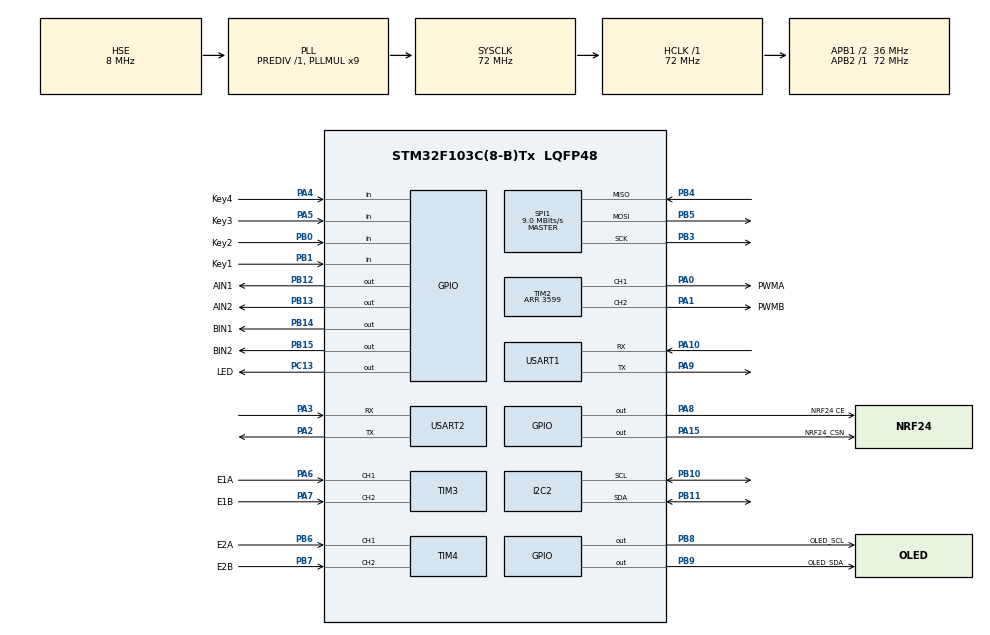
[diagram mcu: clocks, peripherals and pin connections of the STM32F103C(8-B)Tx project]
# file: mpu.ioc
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Dma.Request0=USART2_TX
Dma.Request1=USART2_RX
Dma.USART2_RX.1.Direction=DMA_PERIPH_TO_MEMORY
Dma.USART2_RX.1.Instance=DMA1_Channel6
Dma.USART2_RX.1.MemDataAlignment=DMA_MDATAALIGN_BYTE
Dma.USART2_RX.1.MemInc=DMA_MINC_ENABLE
Dma.USART2_RX.1.Mode=DMA_NORMAL
Dma.USART2_RX.1.PeriphDataAlignment=DMA_PDATAALIGN_BYTE
Dma.USART2_RX.1.PeriphInc=DMA_PINC_DISABLE
Dma.USART2_RX.1.Priority=DMA_PRIORITY_LOW
Dma.USART2_TX.0.Direction=DMA_MEMORY_TO_PERIPH
Dma.USART2_TX.0.Instance=DMA1_Channel7
Dma.USART2_TX.0.MemDataAlignment=DMA_MDATAALIGN_BYTE
Dma.USART2_TX.0.MemInc=DMA_MINC_ENABLE
Dma.USART2_TX.0.Mode=DMA_NORMAL
Dma.USART2_TX.0.PeriphDataAlignment=DMA_PDATAALIGN_BYTE
Dma.USART2_TX.0.PeriphInc=DMA_PINC_DISABLE
Dma.USART2_TX.0.Priority=DMA_PRIORITY_LOW
I2C2.I2C_Mode=I2C_Fast
Mcu.Family=STM32F1
Mcu.Name=STM32F103C(8-B)Tx
Mcu.Package=LQFP48
NVIC.DMA1_Channel6_IRQn=true\:0\:0\:false\:false\:true\:false\:true\:true
NVIC.DMA1_Channel7_IRQn=true\:0\:0\:false\:false\:true\:false\:true\:true
NVIC.I2C2_ER_IRQn=true\:1\:0\:false\:false\:true\:true\:true\:true
NVIC.I2C2_EV_IRQn=true\:1\:0\:false\:false\:true\:true\:true\:true
NVIC.PriorityGroup=NVIC_PRIORITYGROUP_4
NVIC.TIM1_UP_IRQn=true\:0\:0\:false\:false\:true\:true\:true\:true
NVIC.USART2_IRQn=true\:0\:0\:false\:false\:true\:true\:true\:true
PA0-WKUP.GPIO_Label=PWMA
PA0-WKUP.Signal=S_TIM2_CH1_ETR
PA1.GPIO_Label=PWMB
PA1.Signal=S_TIM2_CH2
PA10.Mode=Asynchronous
PA10.Signal=USART1_RX
PA13.Mode=Serial_Wire
PA13.Signal=SYS_JTMS-SWDIO
PA14.Mode=Serial_Wire
PA14.Signal=SYS_JTCK-SWCLK
PA15.GPIO_Label=NRF24_CSN
PA15.PinState=GPIO_PIN_SET
PA15.Signal=GPIO_Output
PA2.Mode=Asynchronous
PA2.Signal=USART2_TX
PA3.Mode=Asynchronous
PA3.Signal=USART2_RX
PA4.GPIO_Label=Key4
PA4.GPIO_PuPd=GPIO_PULLUP
PA4.Signal=GPIO_Input
PA5.GPIO_Label=Key3
PA5.GPIO_PuPd=GPIO_PULLUP
PA5.Signal=GPIO_Input
PA6.GPIO_Label=E1A
PA6.Signal=S_TIM3_CH1
PA7.GPIO_Label=E1B
PA7.Signal=S_TIM3_CH2
PA8.GPIO_Label=NRF24 CE
PA8.Signal=GPIO_Output
PA9.Mode=Asynchronous
PA9.Signal=USART1_TX
PB0.GPIO_Label=Key2
PB0.GPIO_PuPd=GPIO_PULLUP
PB0.Signal=GPIO_Input
PB1.GPIO_Label=Key1
PB1.GPIO_PuPd=GPIO_PULLUP
PB1.Signal=GPIO_Input
PB10.Mode=I2C
PB10.Signal=I2C2_SCL
PB11.Mode=I2C
PB11.Signal=I2C2_SDA
PB12.GPIO_Label=AIN1
PB12.Signal=GPIO_Output
PB13.GPIO_Label=AIN2
PB13.Signal=GPIO_Output
PB14.GPIO_Label=BIN1
PB14.Signal=GPIO_Output
PB15.GPIO_Label=BIN2
PB15.Signal=GPIO_Output
PB3.Mode=Full_Duplex_Master
PB3.Signal=SPI1_SCK
PB4.Mode=Full_Duplex_Master
PB4.Signal=SPI1_MISO
PB5.Mode=Full_Duplex_Master
PB5.Signal=SPI1_MOSI
PB6.GPIO_Label=E2A
PB6.Signal=S_TIM4_CH1
PB7.GPIO_Label=E2B
PB7.Signal=S_TIM4_CH2
PB8.GPIO_Label=OLED_SCL
PB8.GPIO_ModeDefaultOutputPP=GPIO_MODE_OUTPUT_OD
PB8.GPIO_Speed=GPIO_SPEED_FREQ_HIGH
PB8.PinState=GPIO_PIN_SET
PB8.Signal=GPIO_Output
PB9.GPIO_Label=OLED_SDA
PB9.GPIO_ModeDefaultOutputPP=GPIO_MODE_OUTPUT_OD
PB9.GPIO_Speed=GPIO_SPEED_FREQ_HIGH
PB9.PinState=GPIO_PIN_SET
PB9.Signal=GPIO_Output
PC13-TAMPER-RTC.GPIO_Label=LED
PC13-TAMPER-RTC.PinState=GPIO_PIN_SET
PC13-TAMPER-RTC.Signal=GPIO_Output
PD0-OSC_IN.Mode=HSE-External-Oscillator
PD0-OSC_IN.Signal=RCC_OSC_IN
PD1-OSC_OUT.Mode=HSE-External-Oscillator
PD1-OSC_OUT.Signal=RCC_OSC_OUT
ProjectManager.HeapSize=0x200
ProjectManager.StackSize=0x400
ProjectManager.TargetToolchain=CMake
RCC.ADCPresc=RCC_ADCPCLK2_DIV6
RCC.AHBFreq_Value=72000000
RCC.APB1CLKDivider=RCC_HCLK_DIV2
RCC.APB1Freq_Value=36000000
RCC.APB1TimFreq_Value=72000000
RCC.APB2Freq_Value=72000000
RCC.APB2TimFreq_Value=72000000
RCC.HCLKFreq_Value=72000000
RCC.PLLMUL=RCC_PLL_MUL9
RCC.PLLSourceVirtual=RCC_PLLSOURCE_HSE
RCC.SYSCLKFreq_VALUE=72000000
RCC.SYSCLKSource=RCC_SYSCLKSOURCE_PLLCLK
RCC.USBFreq_Value=72000000
SH.S_TIM2_CH1_ETR.0=TIM2_CH1,PWM Generation1 CH1
SH.S_TIM2_CH2.0=TIM2_CH2,PWM Generation2 CH2
SH.S_TIM3_CH1.0=TIM3_CH1,Encoder_Interface
SH.S_TIM3_CH2.0=TIM3_CH2,Encoder_Interface
SH.S_TIM4_CH1.0=TIM4_CH1,Encoder_Interface
SH.S_TIM4_CH2.0=TIM4_CH2,Encoder_Interface
SPI1.BaudRatePrescaler=SPI_BAUDRATEPRESCALER_8
SPI1.CalculateBaudRate=9.0 MBits/s
SPI1.Direction=SPI_DIRECTION_2LINES
SPI1.Mode=SPI_MODE_MASTER
SPI1.VirtualType=VM_MASTER
TIM1.Period=719
TIM1.Prescaler=99
TIM2.Channel-PWM\ Generation1\ CH1=TIM_CHANNEL_1
TIM2.Channel-PWM\ Generation2\ CH2=TIM_CHANNEL_2
TIM2.Period=3599
TIM3.EncoderMode=TIM_ENCODERMODE_TI12
TIM4.EncoderMode=TIM_ENCODERMODE_TI12
USART1.VirtualMode=VM_ASYNC
USART2.VirtualMode=VM_ASYNC
VP_TIM1_VS_ClockSourceINT.Mode=Internal
board=custom

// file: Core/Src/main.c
/* USER CODE BEGIN Header */
/**
  ******************************************************************************
  * @file           : main.c
  * @brief          : Main program body
  ******************************************************************************
  * @attention
  *
  * Copyright (c) 2026 STMicroelectronics.
  * All rights reserved.
  *
  * This software is licensed under terms that can be found in the LICENSE file
  * in the root directory of this software component.
  * If no LICENSE file comes with this software, it is provided AS-IS.
  *
  ******************************************************************************
  */
/* USER CODE END Header */
#include "main.h"
#include "dma.h"
#include "i2c.h"
#include "spi.h"
#include "tim.h"
#include "usart.h"
#include "gpio.h"

/* USER CODE BEGIN Includes */
#include "oled.h"
#include "Blueserial.h"
#include "serial.h"
#include "Key.h"
#include "motor.h"
#include "encoder.h"
#include "pwm.h"
#include "mpu6050.h"
#include "cabell_receiver.h"
#include "LED.h"
/* USER CODE END Includes */

/* USER CODE BEGIN PV */
volatile uint32_t SchedulerTick = 0;
uint8_t KeyNum = 0;
volatile uint8_t Run_Flag = 0U;

volatile uint8_t TimerErrorFlag;  //定时中断执行超时标志位
volatile uint16_t TimerCount;     //定时中断执行时间对应的计数值
/* USER CODE END PV */

void SystemClock_Config(void);

int main(void)
{

  /* MCU Configuration--------------------------------------------------------*/

  /* Reset of all peripherals, Initializes the Flash interface and the Systick. */
  HAL_Init();

  /* Configure the system clock */
  SystemClock_Config();

  /* Initialize all configured peripherals */
  MX_GPIO_Init();
  MX_DMA_Init();
  MX_SPI1_Init();
  MX_TIM2_Init();
  MX_TIM3_Init();
  MX_TIM4_Init();
  MX_USART1_UART_Init();
  MX_USART2_UART_Init();
  MX_I2C2_Init();
  MX_TIM1_Init();
  /* USER CODE BEGIN 2 */
  OLED_Init();
  OLED_Clear();
  if (Key_Init() != HAL_OK)
  {
    Error_Handler();
  }
  Encoder_Init();
  Serial_Init();
  Motor_Init();

  if (MPU6050_Init() != HAL_OK)
  {
    Error_Handler();
  }

  if (BlueSerial_Init() != HAL_OK)
  {
    Error_Handler();
  }

  if (CabellReceiver_Init() != HAL_OK)
  {
    Error_Handler();
  }

  if (HAL_TIM_Base_Start_IT(&htim1) != HAL_OK)
  {
    Error_Handler();
  }
  /* USER CODE END 2 */

  /* Infinite loop */
  while (1)
  {

    /* USER CODE BEGIN 3 */
    if (Run_Flag)
    {
      LED_ON();
    }
    else
    {
      LED_OFF();
    }

    KeyNum = Key_GetNum();
    if (KeyNum == 1U)
    {
      uint32_t Primask = __get_PRIMASK();

      /* 启停标志会在MPU中断里被倾倒保护清零，修改时暂时关闭中断避免互相覆盖 */
      __disable_irq();
      if (Run_Flag != 0U)
      {
        Run_Flag = 0U;
      }
      else if ((Angle <= 50.0f) && (Angle >= -50.0f))
      {
        Run_Flag = 1U;
      }

      if (Primask == 0U)
      {
        __enable_irq();
      }
    }

    /* Cabell接收必须高频轮询，放在耗时任务前面 */
    CabellReceiver_Process();

    static uint32_t LastOledFrameTick = 0;
    static uint32_t LastOledPageTick = 0;
    static uint8_t OledPage = 8U;
    static uint32_t LastSerialTick = 0;

    uint32_t Now = SchedulerTick;

    /* 50ms任务：OLED显示 */
    if ((OledPage >= 8U) && ((uint32_t)(Now - LastOledFrameTick) >= 50U))
    {
      int16_t DisplayAccX;
      int16_t DisplayAccY;
      int16_t DisplayAccZ;
      int16_t DisplayGyroX;
      int16_t DisplayGyroY;
      int16_t DisplayGyroZ;
      uint8_t DisplayTimerErrorFlag;
      uint16_t DisplayTimerCount;
      uint32_t Primask;

      LastOledFrameTick = Now;

      /* 先保存同一次采样的数据，避免显示过程中六轴数据前后不一致 */
      Primask = __get_PRIMASK();
      __disable_irq();

      DisplayAccX = AccX;
      DisplayAccY = AccY;
      DisplayAccZ = AccZ;

      DisplayGyroX = GyroX;
      DisplayGyroY = GyroY;
      DisplayGyroZ = GyroZ;

      DisplayTimerErrorFlag = TimerErrorFlag;
      DisplayTimerCount = TimerCount;
      if (Primask == 0U)
      {
        __enable_irq();
      }

      OLED_Printf(0, 0, OLED_8X16, "%+06d", DisplayAccX);
      OLED_Printf(0, 16, OLED_8X16, "%+06d", DisplayAccY);
      OLED_Printf(0, 32, OLED_8X16, "%+06d", DisplayAccZ);

      OLED_Printf(64, 0, OLED_8X16, "%+06d", DisplayGyroX);
      OLED_Printf(64, 16, OLED_8X16, "%+06d", DisplayGyroY);
      OLED_Printf(64, 32, OLED_8X16, "%+06d", DisplayGyroZ);

      OLED_Printf(0, 48, OLED_8X16, "Flag:%1d", DisplayTimerErrorFlag);
      OLED_Printf(64, 48, OLED_8X16, "C:%05d", DisplayTimerCount);

      OledPage = 0U;
    }

    /* 5ms任务：蓝牙串口发送角度 */
    if ((uint32_t)(Now - LastSerialTick) >= 5U)
    {
      float SendAngleAcc;
      float SendAngleGyro;
      float SendAngle;
      uint32_t Primask;

      LastSerialTick = Now;

      /* 三个角度必须来自同一次滤波计算 */
      Primask = __get_PRIMASK();     /*记录中断状态*/
      __disable_irq();
      SendAngleAcc = AngleAcc;
      SendAngleGyro = AngleGyro;
      SendAngle = Angle;
      if (Primask == 0U)  /*如果原来中断是开的,恢复成开  如果原来本来就是关闭的,不要擅自打开*/
      {
        __enable_irq();
      }

      BlueSerial_Printf("[plot,%f,%f,%f]", SendAngleAcc, SendAngleGyro, SendAngle);
    }

    /* 每次只更新OLED的一页 */
    if ((OledPage < 8U) &&
        ((uint32_t)(Now - LastOledPageTick) >= 1U))
    {
      LastOledPageTick = Now;

      OLED_UpdatePage(OledPage);
      OledPage++;
    }

  }
  /* USER CODE END 3 */
}

void SystemClock_Config(void)
{
  RCC_OscInitTypeDef RCC_OscInitStruct = {0};
  RCC_ClkInitTypeDef RCC_ClkInitStruct = {0};

  /** Initializes the RCC Oscillators according to the specified parameters
  * in the RCC_OscInitTypeDef structure.
  */
  RCC_OscInitStruct.OscillatorType = RCC_OSCILLATORTYPE_HSE;
  RCC_OscInitStruct.HSEState = RCC_HSE_ON;
  RCC_OscInitStruct.HSEPredivValue = RCC_HSE_PREDIV_DIV1;
  RCC_OscInitStruct.HSIState = RCC_HSI_ON;
  RCC_OscInitStruct.PLL.PLLState = RCC_PLL_ON;
  RCC_OscInitStruct.PLL.PLLSource = RCC_PLLSOURCE_HSE;
  RCC_OscInitStruct.PLL.PLLMUL = RCC_PLL_MUL9;
  if (HAL_RCC_OscConfig(&RCC_OscInitStruct) != HAL_OK)
  {
    Error_Handler();
  }

  /** Initializes the CPU, AHB and APB buses clocks
  */
  RCC_ClkInitStruct.ClockType = RCC_CLOCKTYPE_HCLK|RCC_CLOCKTYPE_SYSCLK
                              |RCC_CLOCKTYPE_PCLK1|RCC_CLOCKTYPE_PCLK2;
  RCC_ClkInitStruct.SYSCLKSource = RCC_SYSCLKSOURCE_PLLCLK;
  RCC_ClkInitStruct.AHBCLKDivider = RCC_SYSCLK_DIV1;
  RCC_ClkInitStruct.APB1CLKDivider = RCC_HCLK_DIV2;
  RCC_ClkInitStruct.APB2CLKDivider = RCC_HCLK_DIV1;

  if (HAL_RCC_ClockConfig(&RCC_ClkInitStruct, FLASH_LATENCY_2) != HAL_OK)
  {
    Error_Handler();
  }
}

/* USER CODE BEGIN 4 */
void HAL_TIM_PeriodElapsedCallback(TIM_HandleTypeDef *htim)
{
  if (htim->Instance == TIM1)
  {
    Key_Tick();
    SchedulerTick++;

    /* 每1ms启动一次MPU6050中断读取，启动后立即退出，不等待I2C传输 */
    (void)MPU6050_StartReadIT();

    /* 中断函数退出前，再次检查标志位 */
    /* 如果标志位又置1了，说明中断函数执行时间超过了定时时间（1ms）*/
    if (__HAL_TIM_GET_FLAG(htim, TIM_FLAG_UPDATE) != RESET)
    {
      /* 置TimerErrorFlag为1，表示定时中断错误 */
      TimerErrorFlag = 1;

      /* 清标志位，避免中断连续触发，导致主函数完全无法执行 */
      __HAL_TIM_CLEAR_FLAG(htim, TIM_FLAG_UPDATE);
    }

    /* 中断函数退出前，读取计数器的值，此值可用于测量中断函数的具体执行时间 */
    TimerCount = __HAL_TIM_GET_COUNTER(htim);
  }
}
/* USER CODE END 4 */

void Error_Handler(void)
{
  __disable_irq();
  while (1)
  {
  }
}
